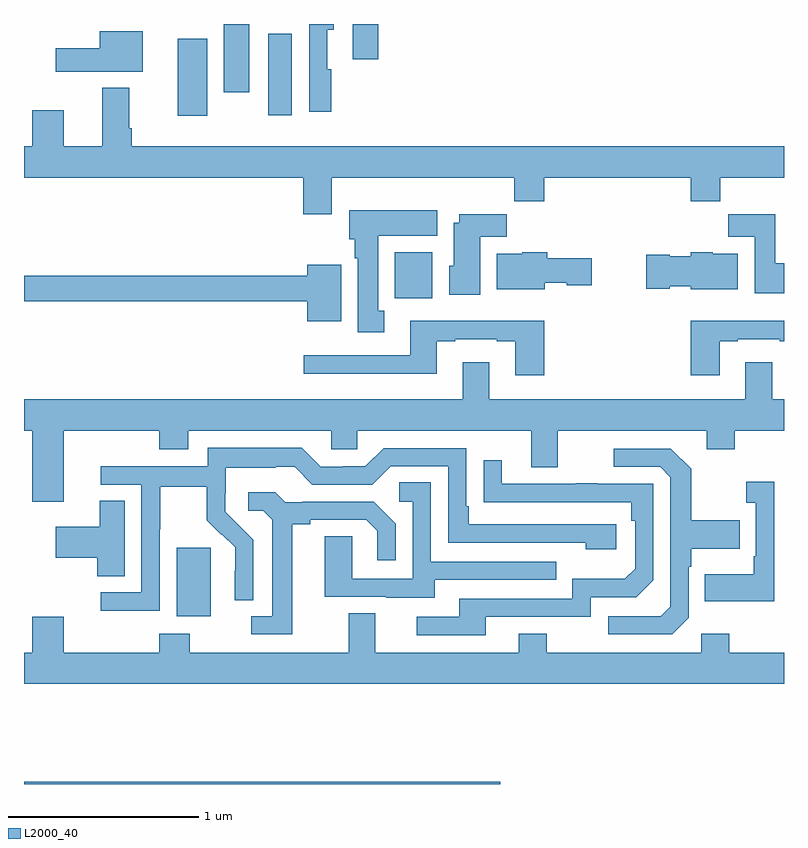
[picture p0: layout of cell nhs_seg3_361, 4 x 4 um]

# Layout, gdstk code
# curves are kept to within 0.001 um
import gdstk
lib = gdstk.Library(unit=1e-6, precision=1e-09)
def R(c, l, rs):  # rectangles x0, y0, x1, y1
    for r in rs: c.add(gdstk.rectangle(r[:2], r[2:], *l))
def P(c, l, *ps):  # polygons
    for p in ps: c.add(gdstk.Polygon(p, *l))
L2000_40 = (2000, 40)

nhs_seg3_361 = lib.new_cell('nhs_seg3_361')
R(nhs_seg3_361, L2000_40, [(129,688.4,131.506,688.412), (129.803,689.282,129.982,689.643), (130.952,690.956,131.149,691.198), (129.809,691.917,129.964,692.323), (130.286,691.92,130.408,692.35), (130.052,692.04,130.186,692.4), (130.73,692.214,130.864,692.4)])
P(nhs_seg3_361, L2000_40, [(130.616,692.162),(130.597,692.162),(130.597,692.369),(130.63,692.369),(130.63,692.4),(130.5,692.4),(130.5,691.938),(130.616,691.938)],
  [(129.625,692.362),(129.398,692.362),(129.398,692.272),(129.168,692.272),(129.168,692.15),(129.625,692.15)],
  [(130.621,691.592),(131.581,691.592),(131.581,691.468),(131.738,691.468),(131.738,691.592),(132.509,691.592),(132.509,691.468),(132.665,691.468),(132.665,691.592),(133,691.592),(133,691.756),(129.566,691.756),(129.566,691.852),(129.553,691.852),(129.553,692.065),(129.413,692.065),(129.413,691.756),(129.208,691.756),(129.208,691.945),(129.044,691.945),(129.044,691.756),(129,691.756),(129,691.592),(130.469,691.592),(130.469,691.398),(130.621,691.398)],
  [(130.897,690.89),(130.864,690.89),(130.864,691.286),(131.176,691.286),(131.176,691.42),(130.712,691.42),(130.712,691.266),(130.742,691.266),(130.742,691.166),(130.757,691.166),(130.757,690.777),(130.897,690.777)],
  [(131.401,691.28),(131.54,691.28),(131.54,691.399),(131.291,691.399),(131.291,691.354),(131.261,691.354),(131.261,691.128),(131.237,691.128),(131.237,690.974),(131.401,690.974)],
  [(133,691.14),(132.955,691.14),(132.955,691.399),(132.706,691.399),(132.706,691.28),(132.845,691.28),(132.845,690.984),(133,690.984)],
  [(132.757,691.192),(132.624,691.192),(132.624,691.198),(132.51,691.198),(132.51,691.177),(132.399,691.177),(132.399,691.185),(132.276,691.185),(132.276,691.007),(132.399,691.007),(132.399,691.019),(132.51,691.019),(132.51,691.004),(132.757,691.004)],
  [(131.74,691.037),(131.856,691.037),(131.856,691.025),(131.989,691.025),(131.989,691.167),(131.753,691.167),(131.753,691.198),(131.622,691.198),(131.622,691.192),(131.489,691.192),(131.489,691.004),(131.74,691.004)],
  [(130.669,691.132),(130.49,691.132),(130.49,691.076),(129,691.076),(129,690.94),(130.49,690.94),(130.49,690.836),(130.669,690.836)],
  [(132.661,690.729),(132.757,690.729),(132.757,690.741),(132.977,690.741),(132.977,690.729),(133,690.729),(133,690.838),(132.509,690.838),(132.509,690.552),(132.661,690.552)],
  [(131.738,690.838),(131.033,690.838),(131.033,690.657),(130.473,690.657),(130.473,690.56),(131.173,690.56),(131.173,690.729),(131.269,690.729),(131.269,690.741),(131.489,690.741),(131.489,690.729),(131.585,690.729),(131.585,690.552),(131.738,690.552)],
  [(129.208,690.26),(129.713,690.26),(129.713,690.161),(129.865,690.161),(129.865,690.26),(130.617,690.26),(130.617,690.162),(130.755,690.162),(130.755,690.26),(131.669,690.26),(131.669,690.066),(131.809,690.066),(131.809,690.26),(132.593,690.26),(132.593,690.161),(132.741,690.161),(132.741,690.26),(133,690.26),(133,690.424),(132.937,690.424),(132.937,690.619),(132.797,690.619),(132.797,690.424),(131.449,690.424),(131.449,690.619),(131.309,690.619),(131.309,690.424),(129,690.424),(129,690.26),(129.044,690.26),(129.044,689.886),(129.208,689.886)],
  [(129.714,689.74),(129.717,689.74),(129.717,689.964),(129.961,689.964),(129.961,689.789),(130.038,689.712),(130.041,689.715),(130.112,689.645),(130.112,689.522),(130.11,689.522),(130.11,689.368),(130.206,689.368),(130.206,689.686),(130.06,689.834),(130.06,689.931),(130.062,689.931),(130.062,690.065),(130.325,690.065),(130.325,690.069),(130.425,690.069),(130.518,689.976),(130.833,689.976),(130.929,690.072),(131.232,690.072),(131.232,689.67),(131.957,689.67),(131.957,689.636),(132.118,689.636),(132.118,689.766),(131.341,689.766),(131.341,689.863),(131.328,689.863),(131.328,690.168),(130.893,690.168),(130.797,690.072),(130.679,690.072),(130.679,690.069),(130.563,690.069),(130.463,690.169),(129.966,690.169),(129.966,690.072),(129.405,690.072),(129.405,689.976),(129.618,689.976),(129.618,689.409),(129.405,689.409),(129.405,689.311),(129.714,689.311)],
  [(132.498,689.274),(132.498,689.543),(132.511,689.543),(132.511,689.639),(132.767,689.639),(132.767,689.787),(132.511,689.787),(132.511,690.059),(132.405,690.165),(132.105,690.165),(132.105,690.069),(132.348,690.069),(132.402,690.015),(132.402,689.334),(132.351,689.283),(132.075,689.283),(132.075,689.187),(132.411,689.187)],
  [(131.431,689.28),(131.982,689.28),(131.982,689.382),(132.222,689.382),(132.312,689.472),(132.312,689.979),(132.017,689.979),(132.017,689.984),(131.905,689.984),(131.905,689.979),(131.515,689.979),(131.515,690.103),(131.419,690.103),(131.419,689.884),(132.196,689.883),(132.196,689.786),(132.216,689.786),(132.216,689.532),(132.163,689.479),(131.886,689.479),(131.886,689.376),(131.291,689.376),(131.291,689.28),(131.067,689.28),(131.067,689.184),(131.431,689.184)],
  [(132.948,689.992),(132.801,689.992),(132.801,689.879),(132.852,689.879),(132.852,689.599),(132.84,689.599),(132.84,689.503),(132.583,689.503),(132.583,689.363),(132.948,689.363)],
  [(131.161,689.475),(131.801,689.475),(131.801,689.571),(131.142,689.571),(131.142,689.987),(130.974,689.987),(130.974,689.886),(131.046,689.886),(131.046,689.481),(130.728,689.481),(130.728,689.705),(130.583,689.705),(130.583,689.385),(130.907,689.385),(130.907,689.381),(131.161,689.381)],
  [(130.411,689.768),(130.507,689.768),(130.507,689.79),(130.802,689.79),(130.859,689.733),(130.859,689.577),(130.956,689.577),(130.956,689.77),(130.84,689.886),(130.468,689.886),(130.468,689.883),(130.374,689.883),(130.322,689.935),(130.179,689.935),(130.179,689.838),(130.26,689.838),(130.307,689.791),(130.307,689.283),(130.197,689.283),(130.197,689.187),(130.411,689.187)],
  [(129.529,689.891),(129.398,689.891),(129.398,689.755),(129.168,689.755),(129.168,689.59),(129.386,689.59),(129.386,689.494),(129.529,689.494)],
  [(133,689.092),(132.711,689.092),(132.711,689.191),(132.564,689.191),(132.564,689.092),(131.751,689.092),(131.751,689.191),(131.603,689.191),(131.603,689.092),(130.849,689.092),(130.849,689.3),(130.709,689.3),(130.709,689.092),(129.873,689.092),(129.873,689.191),(129.713,689.191),(129.713,689.092),(129.208,689.092),(129.208,689.281),(129.044,689.281),(129.044,689.092),(129,689.092),(129,688.928),(133,688.928)])

lib.write_gds('nhs_seg3_361.gds')
